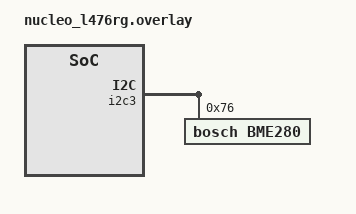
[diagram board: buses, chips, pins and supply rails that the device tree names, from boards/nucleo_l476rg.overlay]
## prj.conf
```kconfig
CONFIG_I2C=y
CONFIG_SENSOR=y
CONFIG_SENSOR_ASYNC_API=y
CONFIG_LOG_DEFAULT_LEVEL=5
```

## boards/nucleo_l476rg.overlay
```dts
&i2c3 {
	status = "okay";
	bme280@76 {
		compatible = "bosch,bme280";
		reg = <0x76>;
	};

};
```

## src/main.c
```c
#include <stdio.h>
#include <zephyr/device.h>
#include <zephyr/devicetree.h>
#include <zephyr/drivers/sensor.h>
#include <zephyr/drivers/sensor_data_types.h>
#include <zephyr/rtio/rtio.h>
#include <zephyr/dsp/print_format.h>

/*
 * Get a device structure from a devicetree node with compatible
 * "bosch,bme280". (If there are multiple, just pick one.)
 */
const struct device *const dev = DEVICE_DT_GET_ANY(bosch_bme280);

int main(void)
{
	if (!dev) {
		printf("No device found!\n");
	}
	if (!device_is_ready(dev)) {
		printf("device %s is not ready\n", dev->name);
	}

	struct sensor_value temp;

	while(1) {
		sensor_sample_fetch(dev);
		sensor_channel_get(dev, SENSOR_CHAN_AMBIENT_TEMP, &temp);
		printk("temp: %d.%06d\n", temp.val1, temp.val2);
		k_msleep(1000);
	}
	return 0;
}
```
